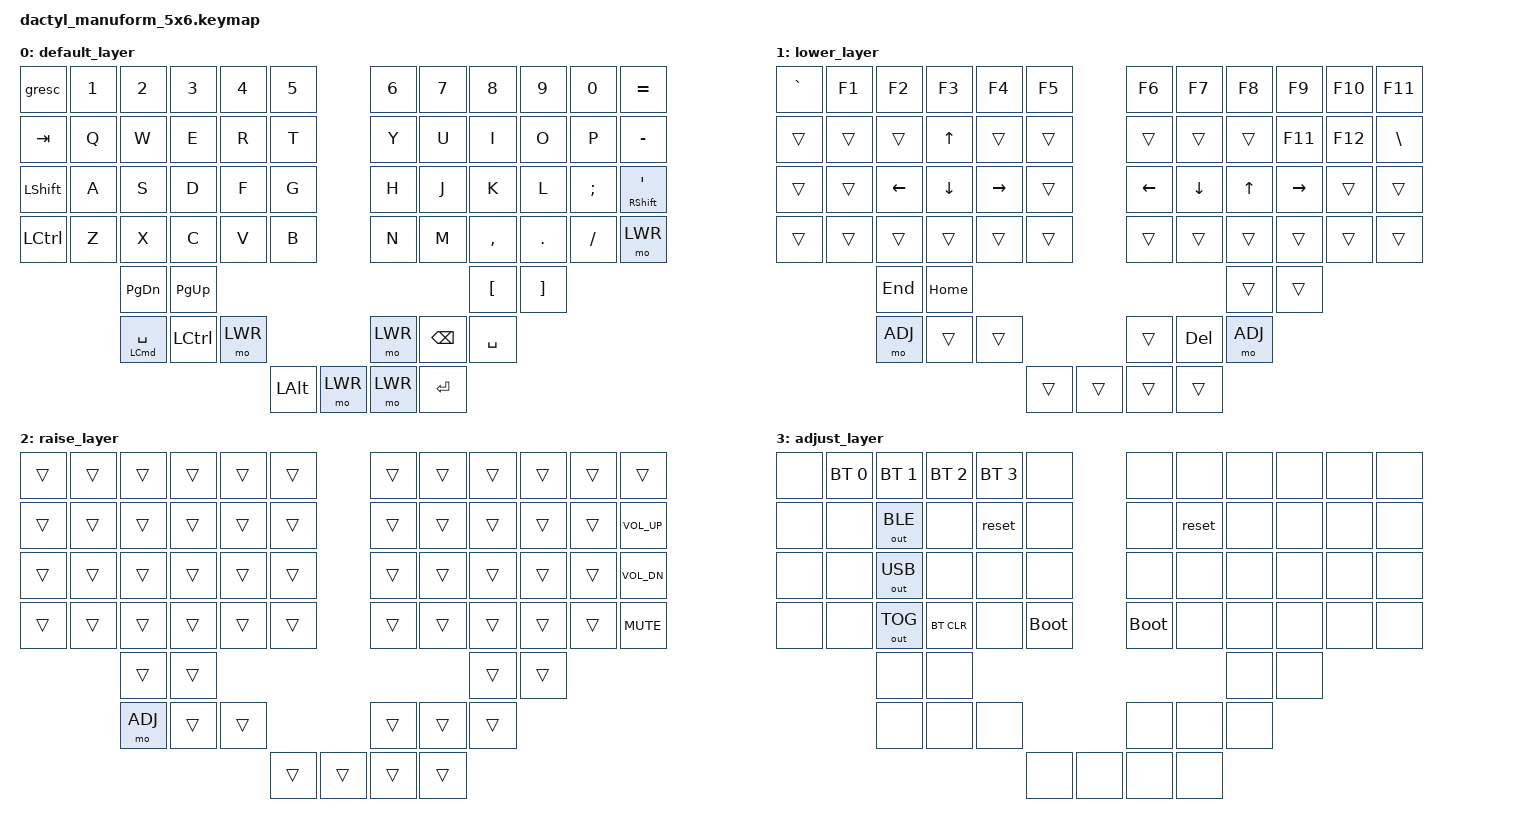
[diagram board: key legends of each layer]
#include <behaviors.dtsi>
#include <dt-bindings/zmk/keys.h>
#include <dt-bindings/zmk/bt.h>
#include <dt-bindings/zmk/outputs.h>

#define DEFAULT 0
#define LWR 1
#define RSE 2
#define ADJ 3

/ {
    keymap {
        compatible = "zmk,keymap";

        default_layer {
            bindings = <
                &gresc    &kp N1 &kp N2 &kp N3 &kp N4 &kp N5              &kp N6 &kp N7 &kp N8    &kp N9  &kp N0   &kp EQUAL
                &kp TAB   &kp Q  &kp W  &kp E  &kp R  &kp T               &kp Y  &kp U  &kp I     &kp O   &kp P    &kp MINUS
                &kp LSHFT &kp A  &kp S  &kp D  &kp F  &kp G               &kp H  &kp J  &kp K     &kp L   &kp SEMI &mt RSHFT APOS
                &kp LCTRL &kp Z  &kp X  &kp C  &kp V  &kp B               &kp N  &kp M  &kp COMMA &kp DOT &kp FSLH &mo LWR
                                 &kp PG_DN &kp PG_UP                                    &kp LBKT  &kp RBKT
                                    &mt LCMD SPACE &kp LCTRL &mo LWR      &mo LWR &kp BSPC &kp SPACE
                                                   &kp LALT  &mo LWR      &mo LWR &kp RET
            >;
        };

        lower_layer {
            bindings = <
                &kp GRAVE &kp F1 &kp F2 &kp F3 &kp F4 &kp F5              &kp F6 &kp F7   &kp F8   &kp F9 &kp F10   &kp F11
                &trans    &trans &trans &kp UP &trans &trans              &trans &trans   &trans   &kp F11 &kp F12  &kp BSLH
                &trans    &trans &kp LEFT &kp DOWN &kp RIGHT &trans       &kp LEFT &kp DOWN &kp UP &kp RIGHT &trans &trans
                &trans    &trans &trans &trans &trans &trans              &trans &trans   &trans   &trans &trans    &trans
                                 &kp END &kp HOME                                         &trans &trans
                                             &mo ADJ &trans &trans         &trans &kp DEL &mo ADJ
                                                    &trans &trans         &trans &trans
            >;
        };

        raise_layer {
            bindings = <
                &trans  &trans &trans &trans &trans &trans                &trans &trans &trans &trans &trans &trans
                &trans  &trans &trans &trans &trans &trans                &trans &trans &trans &trans &trans &kp K_VOL_UP
                &trans  &trans &trans &trans &trans &trans                &trans &trans &trans &trans &trans &kp K_VOL_DN
                &trans  &trans &trans &trans &trans &trans                &trans &trans &trans &trans &trans &kp K_MUTE
                               &trans &trans                                            &trans &trans
                                             &mo ADJ &trans &trans        &trans &trans &trans
                                                     &trans &trans       &trans &trans
            >;
        };

        adjust_layer {
            bindings = <
                &none &bt BT_SEL 0 &bt BT_SEL 1 &bt BT_SEL 2 &bt BT_SEL 3 &none            &none       &none  &none &none &none &none
                &none &none        &out OUT_BLE &none        &reset       &none            &none       &reset &none &none &none &none
                &none &none        &out OUT_USB &none        &none        &none            &none       &none  &none &none &none &none
                &none &none        &out OUT_TOG &bt BT_CLR   &none        &bootloader      &bootloader &none  &none &none &none &none
                                   &none        &none                                                         &none &none
                                                &none        &none        &none            &none &none &none
                                                             &none        &none            &none &none
            >;
        };
    };
};
